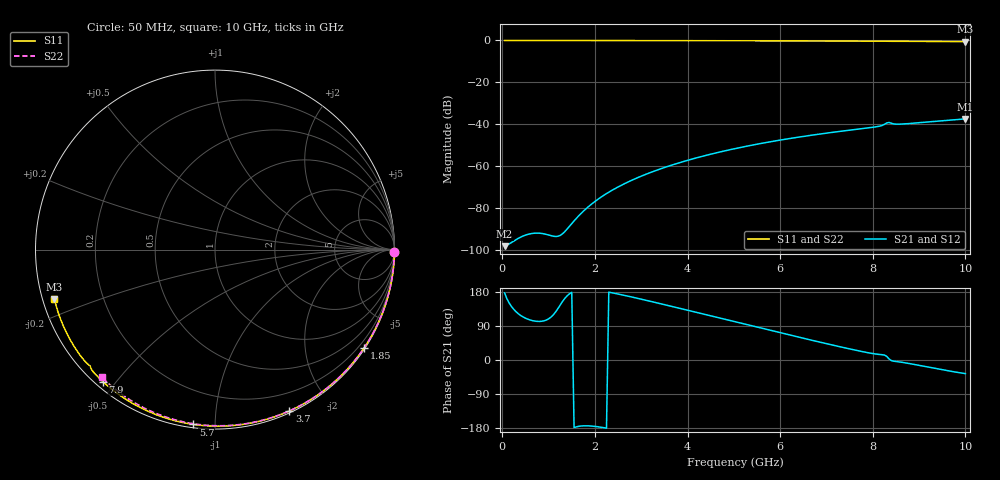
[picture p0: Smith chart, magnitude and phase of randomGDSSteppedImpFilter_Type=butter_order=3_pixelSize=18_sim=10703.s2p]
! freq	dB(S11)	phase(S11)	dB(S12)	phase(S12)
!  dB(S21)	phase(S21)	dB(S22)	phase(S22)
!S-par simulation data
#  GHz  S  DB  R 50
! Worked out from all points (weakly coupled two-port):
!   200 points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, 50 MHz to 10 GHz, reference 50 ohm
!   highest |S21| = -37.39 dB at 10 GHz (marker M1); lowest = -98.1 dB at 50 MHz (marker M2)
!   lowest |S11| = -0.6 dB at 10 GHz (marker M3), VSWR 30.30, Z = 1.69 - j7.48 ohm
!   |S11| at or under -10 dB: nowhere
!   |S22| runs from -0.4 to 0.0 dB; largest |S21 - S12| = 0
!   S11 on the Smith chart (normalised r, x): 50 MHz: open; 1.85 GHz: 0.03, -3.32; 3.7 GHz: 0.02, -1.56; 5.7 GHz: 0.02, -0.88; 7.9 GHz: 0.02, -0.46; 10 GHz: 0.03, -0.15
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0.05  -0.00 -0.9  -98.09 177.1  -98.09 177.1  -0.00 -0.7
0.85  -0.02 -15.6  -92.02 102.2  -92.02 102.2  -0.01 -12.8
1.75  -0.04 -31.7  -81.43 -173.7  -81.43 -173.7  -0.03 -26.2
1.8  -0.04 -32.6  -80.41 -173.6  -80.41 -173.6  -0.03 -26.9
1.85  -0.04 -33.5  -79.44 -173.7  -79.44 -173.7  -0.04 -27.7
2.15  -0.05 -38.8  -74.44 -177.8  -74.44 -177.8  -0.04 -32.1
2.5  -0.06 -44.9  -69.85 174.1  -69.85 174.1  -0.05 -37.1
2.9  -0.07 -51.8  -65.64 163.4  -65.64 163.4  -0.06 -42.9
3.4  -0.08 -60.2  -61.35 149.0  -61.35 149.0  -0.07 -49.9
3.7  -0.09 -65.2  -59.15 140.2  -59.15 140.2  -0.07 -54.1
4.35  -0.11 -75.9  -55.07 121.0  -55.07 121.0  -0.09 -62.9
5.05  -0.13 -87.0  -51.45 100.1  -51.45 100.1  -0.11 -72.2
5.7  -0.16 -97.1  -48.65 80.7  -48.65 80.7  -0.13 -80.6
6.7  -0.22 -112.3  -45.11 51.6  -45.11 51.6  -0.18 -93.1
7.3  -0.26 -121.3  -43.32 34.7  -43.32 34.7  -0.21 -100.3
7.9  -0.31 -130.3  -41.69 19.1  -41.69 19.1  -0.25 -107.4
8.15  -0.33 -134.2  -40.84 14.5  -40.84 14.5  -0.27 -110.3
8.35  -0.44 -137.1  -39.08 3.0  -39.08 3.0  -0.28 -112.7
8.45  -0.41 -138.3  -39.77 -3.1  -39.77 -3.1  -0.29 -113.8
8.6  -0.40 -140.6  -39.89 -5.5  -39.89 -5.5  -0.31 -115.6
9.3  -0.47 -151.5  -38.66 -21.2  -38.66 -21.2  -0.37 -123.6
10  -0.57 -163.0  -37.39 -35.9  -37.39 -35.9  -0.45 -131.5
